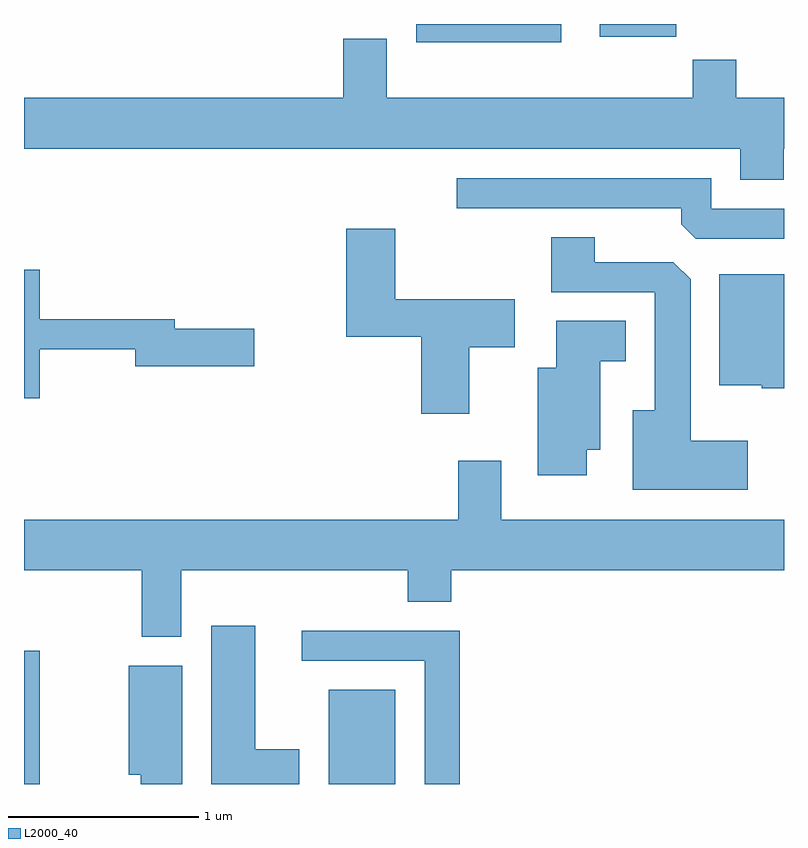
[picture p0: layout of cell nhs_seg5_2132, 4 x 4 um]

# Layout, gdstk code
import gdstk
lib = gdstk.Library(unit=1e-6, precision=1e-09)
def R(c, l, rs):  # rectangles x0, y0, x1, y1
    for r in rs: c.add(gdstk.rectangle(r[:2], r[2:], *l))
def P(c, l, *ps):  # polygons
    for p in ps: c.add(gdstk.Polygon(p, *l))
L2000_40 = (2000, 40)

nhs_seg5_2132 = lib.new_cell('nhs_seg5_2132')
R(nhs_seg5_2132, L2000_40, [(247.611,1500.072,247.694,1500.774), (249.216,1500.072,249.564,1500.569), (249.676,1503.976,250.439,1504.072), (250.641,1504.006,251.044,1504.072)])
P(nhs_seg5_2132, L2000_40, [(251.131,1503.884),(251.131,1503.684),(249.519,1503.684),(249.519,1503.994),(249.291,1503.994),(249.291,1503.684),(247.611,1503.684),(247.611,1503.416),(251.381,1503.416),(251.381,1503.251),(251.609,1503.251),(251.609,1503.416),(251.611,1503.416),(251.611,1503.684),(251.359,1503.684),(251.359,1503.884)],
  [(251.611,1503.099),(251.229,1503.099),(251.229,1503.259),(249.888,1503.259),(249.888,1503.101),(251.071,1503.101),(251.071,1503.017),(251.147,1502.941),(251.611,1502.941)],
  [(249.954,1502.371),(250.194,1502.371),(250.194,1502.624),(249.564,1502.624),(249.564,1502.994),(249.306,1502.994),(249.306,1502.426),(249.701,1502.426),(249.701,1502.021),(249.954,1502.021)],
  [(251.419,1501.879),(251.119,1501.879),(251.119,1502.729),(251.029,1502.819),(250.614,1502.819),(250.614,1502.949),(250.386,1502.949),(250.386,1502.661),(250.931,1502.661),(250.931,1502.039),(250.816,1502.039),(250.816,1501.621),(251.419,1501.621)],
  [(247.694,1502.361),(248.196,1502.361),(248.196,1502.271),(248.824,1502.271),(248.824,1502.469),(248.404,1502.469),(248.404,1502.519),(247.694,1502.519),(247.694,1502.779),(247.611,1502.779),(247.611,1502.101),(247.694,1502.101)],
  [(251.611,1502.754),(251.271,1502.754),(251.271,1502.171),(251.495,1502.171),(251.495,1502.156),(251.611,1502.156)],
  [(250.574,1501.831),(250.644,1501.831),(250.644,1502.296),(250.779,1502.296),(250.779,1502.509),(250.411,1502.509),(250.411,1502.264),(250.316,1502.264),(250.316,1501.696),(250.574,1501.696)],
  [(248.439,1501.196),(249.631,1501.196),(249.631,1501.031),(249.859,1501.031),(249.859,1501.196),(251.611,1501.196),(251.611,1501.464),(250.124,1501.464),(250.124,1501.774),(249.896,1501.774),(249.896,1501.464),(247.611,1501.464),(247.611,1501.196),(248.231,1501.196),(248.231,1500.846),(248.439,1500.846)],
  [(249.059,1500.254),(248.829,1500.254),(248.829,1500.904),(248.596,1500.904),(248.596,1500.072),(249.059,1500.072)],
  [(249.904,1500.879),(249.073,1500.879),(249.073,1500.721),(249.721,1500.721),(249.721,1500.072),(249.904,1500.072)],
  [(248.444,1500.694),(248.161,1500.694),(248.161,1500.121),(248.226,1500.121),(248.226,1500.072),(248.444,1500.072)])

lib.write_gds('nhs_seg5_2132.gds')
